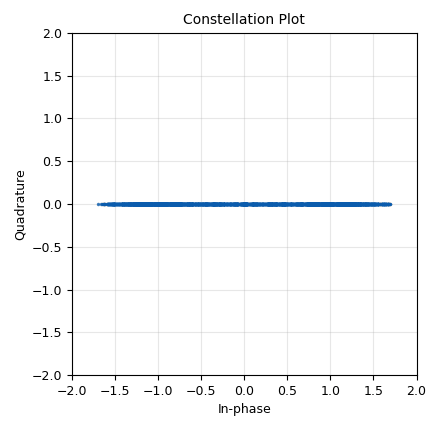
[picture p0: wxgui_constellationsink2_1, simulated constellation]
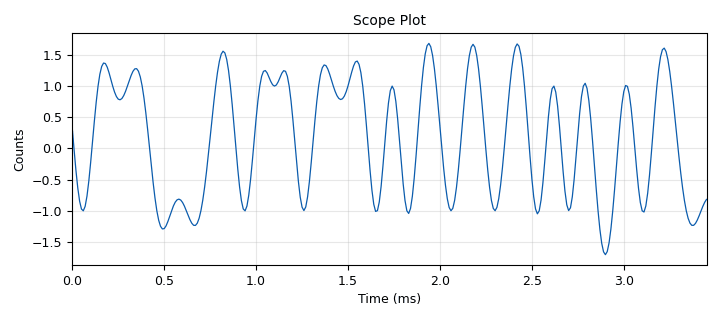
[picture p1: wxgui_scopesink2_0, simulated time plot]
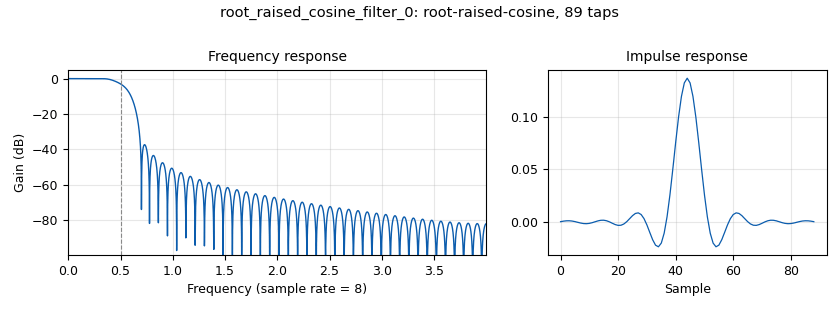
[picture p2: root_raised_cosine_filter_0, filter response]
<?xml version='1.0' encoding='utf-8'?>
<?grc format='1' created='3.7.13'?>
<flow_graph>
<block>
<key>options</key>
<param><key>id</key><value>top_block</value></param>
<param><key>category</key><value>Custom</value></param>
<param><key>generate_options</key><value>wx_gui</value></param>
</block>
<block>
<key>variable_constellation</key>
<param><key>id</key><value>pam</value></param>
<param><key>const_points</key><value>[-1, 1]</value></param>
<param><key>type</key><value>calcdist</value></param>
<param><key>dims</key><value>1</value></param>
<param><key>rot_sym</key><value>4</value></param>
<param><key>precision</key><value>8</value></param>
<param><key>sym_map</key><value>[0, 1]</value></param>
</block>
<block>
<key>variable</key>
<param><key>id</key><value>samp_rate</value></param>
<param><key>value</key><value>100E3</value></param>
</block>
<block>
<key>variable</key>
<param><key>id</key><value>sps</value></param>
<param><key>value</key><value>8</value></param>
</block>
<block>
<key>analog_random_source_x</key>
<param><key>id</key><value>analog_random_source_x_0</value></param>
<param><key>max</key><value>255</value></param>
<param><key>min</key><value>0</value></param>
<param><key>num_samps</key><value>1000</value></param>
<param><key>type</key><value>byte</value></param>
<param><key>repeat</key><value>True</value></param>
</block>
<block>
<key>blocks_complex_to_float</key>
<param><key>id</key><value>blocks_complex_to_float_0</value></param>
</block>
<block>
<key>blocks_throttle</key>
<param><key>id</key><value>blocks_throttle_0</value></param>
<param><key>samples_per_second</key><value>samp_rate</value></param>
<param><key>type</key><value>byte</value></param>
</block>
<block>
<key>blocks_unpacked_to_packed_xx</key>
<param><key>id</key><value>blocks_unpacked_to_packed_xx_0</value></param>
<param><key>bits_per_chunk</key><value>1</value></param>
<param><key>endianness</key><value>gr.GR_MSB_FIRST</value></param>
<param><key>type</key><value>byte</value></param>
</block>
<block>
<key>digital_constellation_modulator</key>
<param><key>id</key><value>digital_constellation_modulator_0</value></param>
<param><key>constellation</key><value>pam</value></param>
<param><key>differential</key><value>False</value></param>
<param><key>excess_bw</key><value>0.35</value></param>
<param><key>samples_per_symbol</key><value>sps</value></param>
</block>
<block>
<key>root_raised_cosine_filter</key>
<param><key>id</key><value>root_raised_cosine_filter_0</value></param>
<param><key>alpha</key><value>0.35</value></param>
<param><key>decim</key><value>1</value></param>
<param><key>type</key><value>fir_filter_ccf</value></param>
<param><key>gain</key><value>1</value></param>
<param><key>ntaps</key><value>11*sps</value></param>
<param><key>samp_rate</key><value>sps</value></param>
<param><key>sym_rate</key><value>1</value></param>
</block>
<block>
<key>wxgui_constellationsink2</key>
<param><key>id</key><value>wxgui_constellationsink2_1</value></param>
<param><key>const_size</key><value>4096</value></param>
<param><key>frame_rate</key><value>5</value></param>
<param><key>gain_mu</key><value>0.005</value></param>
<param><key>loop_bw</key><value>6.28/100.0</value></param>
<param><key>M</key><value>2</value></param>
<param><key>fmax</key><value>0.06</value></param>
<param><key>mu</key><value>0.5</value></param>
<param><key>omega_limit</key><value>0.005</value></param>
<param><key>samp_rate</key><value>8</value></param>
<param><key>symbol_rate</key><value>1</value></param>
<param><key>theta</key><value>0</value></param>
<param><key>title</key><value>Constellation Plot</value></param>
</block>
<block>
<key>wxgui_scopesink2</key>
<param><key>id</key><value>wxgui_scopesink2_0</value></param>
<param><key>ac_couple</key><value>False</value></param>
<param><key>num_inputs</key><value>1</value></param>
<param><key>samp_rate</key><value>samp_rate</value></param>
<param><key>t_scale</key><value>0</value></param>
<param><key>title</key><value>Scope Plot</value></param>
<param><key>trig_mode</key><value>wxgui.TRIG_MODE_FREE</value></param>
<param><key>type</key><value>float</value></param>
<param><key>v_offset</key><value>0</value></param>
<param><key>v_scale</key><value>0</value></param>
<param><key>xy_mode</key><value>False</value></param>
<param><key>y_axis_label</key><value>Counts</value></param>
</block>
<connection><source_block_id>analog_random_source_x_0</source_block_id><sink_block_id>blocks_throttle_0</sink_block_id><source_key>0</source_key><sink_key>0</sink_key></connection>
<connection><source_block_id>blocks_complex_to_float_0</source_block_id><sink_block_id>wxgui_scopesink2_0</sink_block_id><source_key>0</source_key><sink_key>0</sink_key></connection>
<connection><source_block_id>blocks_throttle_0</source_block_id><sink_block_id>blocks_unpacked_to_packed_xx_0</sink_block_id><source_key>0</source_key><sink_key>0</sink_key></connection>
<connection><source_block_id>blocks_unpacked_to_packed_xx_0</source_block_id><sink_block_id>digital_constellation_modulator_0</sink_block_id><source_key>0</source_key><sink_key>0</sink_key></connection>
<connection><source_block_id>digital_constellation_modulator_0</source_block_id><sink_block_id>root_raised_cosine_filter_0</sink_block_id><source_key>0</source_key><sink_key>0</sink_key></connection>
<connection><source_block_id>root_raised_cosine_filter_0</source_block_id><sink_block_id>blocks_complex_to_float_0</sink_block_id><source_key>0</source_key><sink_key>0</sink_key></connection>
<connection><source_block_id>root_raised_cosine_filter_0</source_block_id><sink_block_id>wxgui_constellationsink2_1</sink_block_id><source_key>0</source_key><sink_key>0</sink_key></connection>
</flow_graph>
